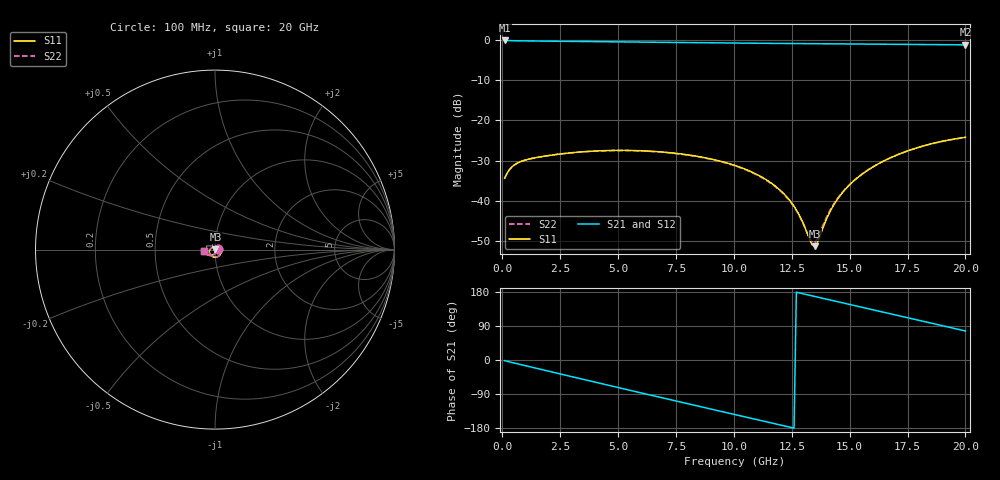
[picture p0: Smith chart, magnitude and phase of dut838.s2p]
! Touchstone file exported from HFSS 2026.1.0
!  File:  C:/ffzhzh/LocalFiles/Ansys_Project_Files/temp_train_TSV_RDL_838_1783267728_30076.aedt
!  Generated:  12:18:12 AM Jul  6, 2026
!  Design:  TSV_RDL
!  Project:  temp_train_TSV_RDL_838_1783267728_30076
! Variables:
!  h_bsmrdl = 3.19um
!  h_ox = 20um
!  h_rdl = 5um
!  h_sub = 97.17um
!  h_tmrdl = 5.48um
!  h_tsv = 97.17um
!  h_via = 3um
!  l_bsmrdl = 874.28um
!  l_sub = 4576.63um
!  l_tmrdl = 346.38um
!  m_sub = 200um
!  pitch = 32.41um
!  r_tsv = 4.5um
!  s_tmrdl = 10um
!  w_bsmrdl = 29.47um
!  w_sub = 500um
!  w_tmrdl = 26.62um
!  x_tsv_center1 = 359.69um
!  x_tsv_center2 = 1263.44um
!  x_tsv_center3 = 1636.44um
!  x_tsv_center4 = 2540.19um
!  x_tsv_center5 = 2913.19um
!  x_tsv_center6 = 3816.94um
# GHz S MA R 50.000000
! Terminal data exported
! Port[1] = TM_RDL1_1_T1
! Port[2] = TM_RDL5_1_T1
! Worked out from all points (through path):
!   200 points, 100 MHz to 20 GHz, reference 50 ohm
!   highest |S21| = -0.16 dB at 100 MHz (marker M1); lowest = -1.2 dB at 20 GHz (marker M2)
!   group delay of S21, straight-line fit = 39.2 ps
!   lowest |S11| = -51.3 dB at 13.5 GHz (marker M3), VSWR 1.01, Z = 50.3 + j0.101 ohm
!   |S11| at or under -10 dB: start of sweep to end of sweep
!   |S22| runs from -50.4 to -24.3 dB; largest |S21 - S12| = 4.1e-14
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0.1  0.01897 10.6  0.9815 -1.7  0.9815 -1.7  0.01897 10.6
! Gamma 0 0 0 0
! Port Impedance 50 0 50 0
0.4  0.02605 11.9  0.9752 -6.3  0.9752 -6.3  0.02605 11.9
0.9  0.03146 1.5  0.9693 -13.6  0.9693 -13.6  0.03145 1.5
2.1  0.03684 -21.4  0.9618 -31.0  0.9618 -31.0  0.0368 -21.4
3.5  0.04068 -48.5  0.9533 -51.2  0.9533 -51.2  0.04058 -48.5
5.2  0.04229 -83.0  0.9421 -75.5  0.9421 -75.5  0.0421 -83.0
6.8  0.04059 -115.9  0.9314 -98.3  0.9314 -98.3  0.04032 -116.0
8.4  0.03576 -148.7  0.921 -120.9  0.921 -120.9  0.03542 -149.0
10.1  0.02716 176.4  0.9108 -144.8  0.9108 -144.8  0.02682 175.9
11.3  0.01901 150.9  0.9043 -161.6  0.9043 -161.6  0.01871 149.9
12.2  0.0119 128.9  0.8999 -174.2  0.8999 -174.2  0.01166 127.2
12.8  0.006847 107.6  0.8971 177.4  0.8971 177.4  0.006714 104.4
13.3  0.003158 62.6  0.8948 170.4  0.8948 170.4  0.003298 56.2
13.4  0.002791 43.7  0.8944 169.0  0.8944 169.0  0.00303 37.8
13.5  0.002728 21.7  0.8939 167.6  0.8939 167.6  0.00305 17.8
13.6  0.002998 1.0  0.8935 166.2  0.8935 166.2  0.003361 -0.5
14.2  0.007758 -54.1  0.8909 157.8  0.8909 157.8  0.008042 -52.7
14.7  0.01271 -71.2  0.8888 150.8  0.8888 150.8  0.01292 -70.2
15.6  0.02205 -92.3  0.885 138.2  0.885 138.2  0.02217 -91.8
16.7  0.03354 -113.8  0.8804 122.8  0.8804 122.8  0.03357 -113.6
18.4  0.04992 -143.9  0.873 99.0  0.873 99.0  0.04982 -144.0
20  0.06142 -170.6  0.866 76.6  0.866 76.6  0.06122 -170.9
